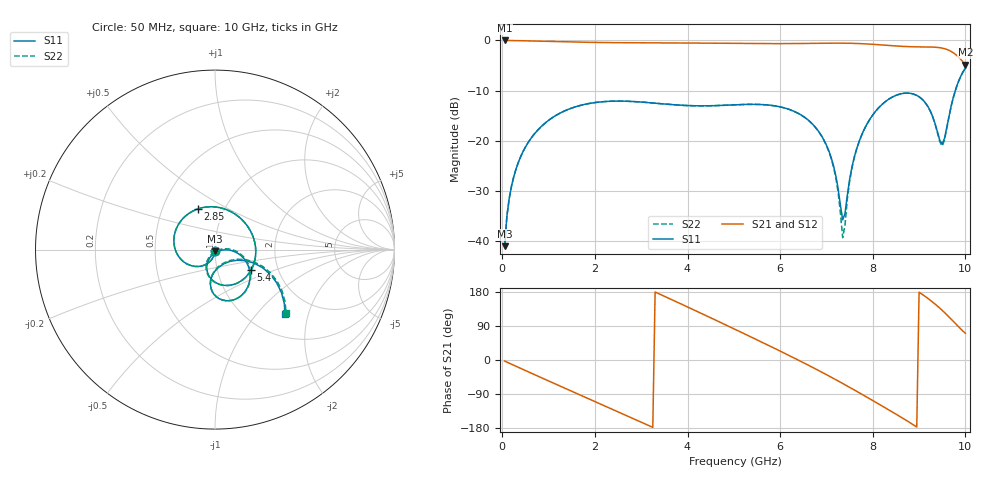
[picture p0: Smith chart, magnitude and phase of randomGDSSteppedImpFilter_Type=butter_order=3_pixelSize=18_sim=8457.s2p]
! freq	dB(S11)	phase(S11)	dB(S12)	phase(S12)
!  dB(S21)	phase(S21)	dB(S22)	phase(S22)
!S-par simulation data
#  GHz  S  DB  R 50
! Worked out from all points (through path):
!   200 points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, 50 MHz to 10 GHz, reference 50 ohm
!   highest |S21| = 0.00 dB at 50 MHz (marker M1); lowest = -4.8 dB at 10 GHz (marker M2)
!   group delay of S21, straight-line fit = 170 ps
!   lowest |S11| = -41.0 dB at 50 MHz (marker M3), VSWR 1.02, Z = 50 - j0.892 ohm
!   |S11| at or under -10 dB: start of sweep to 9.782 GHz
!   |S22| runs from -41.0 to -5.5 dB; largest |S21 - S12| = 0
!   S11 on the Smith chart (normalised r, x): 50 MHz: 1.00, -0.02; 2.85 GHz: 0.75, +0.36; 5.4 GHz: 1.45, -0.35; 10 GHz: 1.44, -1.43
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0.05  -40.97 -92.4  -0.00 -2.8  -0.00 -2.8  -40.97 -92.4
0.2  -28.97 -101.2  -0.02 -11.2  -0.02 -11.2  -28.97 -101.2
0.5  -21.23 -118.2  -0.07 -27.8  -0.07 -27.8  -21.23 -118.1
1.15  -14.97 -154.4  -0.22 -63.5  -0.22 -63.5  -14.97 -154.2
1.75  -12.79 173.1  -0.35 -96.0  -0.35 -96.0  -12.79 173.4
2.85  -12.18 113.3  -0.47 -155.7  -0.47 -155.7  -12.18 113.8
3.4  -12.58 82.9  -0.48 173.8  -0.48 173.8  -12.58 83.4
4.3  -13.03 32.4  -0.53 122.9  -0.53 122.9  -13.03 32.8
5.05  -12.81 -10.1  -0.59 79.5  -0.59 79.5  -12.81 -10.0
5.4  -12.72 -30.0  -0.62 59.1  -0.62 59.1  -12.73 -30.1
6.1  -13.45 -69.9  -0.63 17.5  -0.63 17.5  -13.47 -70.6
6.7  -16.67 -103.9  -0.57 -19.4  -0.57 -19.4  -16.70 -105.6
7.15  -24.88 -122.4  -0.53 -48.5  -0.53 -48.5  -25.11 -127.7
7.25  -29.44 -117.0  -0.53 -55.2  -0.53 -55.2  -30.09 -126.0
7.35  -35.73 -73.5  -0.54 -61.9  -0.54 -61.9  -39.28 -78.1
7.5  -27.69 -3.7  -0.56 -72.1  -0.56 -72.1  -28.04 4.4
7.7  -20.25 -4.1  -0.62 -85.9  -0.62 -85.9  -20.30 -0.5
8.35  -11.67 -42.4  -1.00 -131.9  -1.00 -131.9  -11.67 -41.3
9  -11.22 -85.2  -1.29 179.0  -1.29 179.0  -11.23 -84.9
9.5  -20.62 -58.6  -1.53 130.9  -1.53 130.9  -21.03 -58.2
9.75  -10.97 -20.9  -2.53 100.6  -2.53 100.6  -11.03 -19.4
10  -5.52 -42.6  -4.81 70.4  -4.81 70.4  -5.54 -41.6
